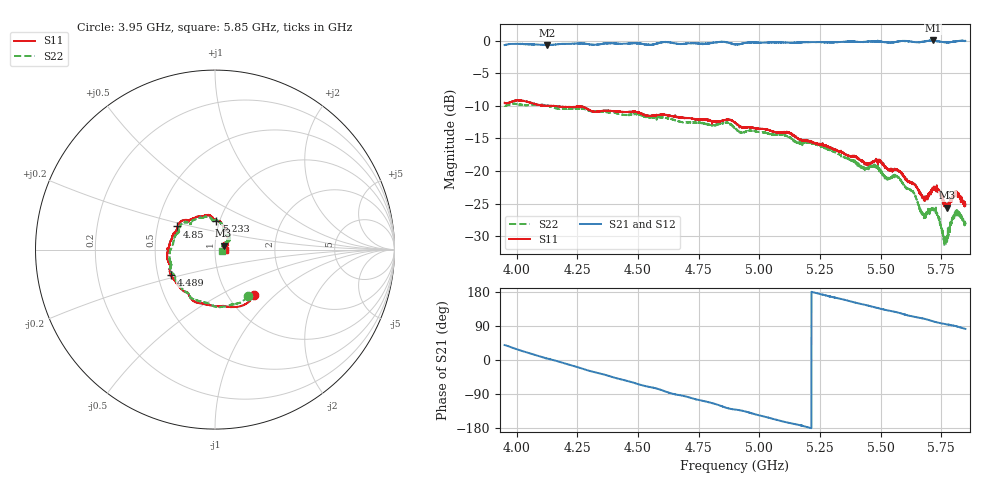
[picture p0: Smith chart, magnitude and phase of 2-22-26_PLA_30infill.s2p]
# GHZ S RI R 50.000000000000
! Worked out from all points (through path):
!   4501 points, 3.95 GHz to 5.85 GHz, reference 50 ohm
!   highest |S21| = 0.02 dB at 5.717 GHz (marker M1); lowest = -0.7 dB at 4.126 GHz (marker M2)
!   lowest |S11| = -25.6 dB at 5.775 GHz (marker M3), VSWR 1.11, Z = 54.9 + j2.4 ohm
!   |S11| at or under -10 dB: 4.121291 GHz to 4.135875 GHz (14.58 MHz wide, 0.353 % of centre); 4.141324 GHz to 4.15304 GHz (11.72 MHz wide, 0.282 % of centre); 4.153 GHz to end of sweep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
!   |S22| runs from -31.5 to -9.7 dB; largest |S21 - S12| = 0.026
!   S11 on the Smith chart (normalised r, x): 3.95 GHz: 1.31, -0.75; 4.489 GHz: 0.58, -0.18; 4.85 GHz: 0.64, +0.17; 5.233 GHz: 0.96, +0.32; 5.85 GHz: 1.12, -0.00
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3.95  0.2152 -0.2547  0.7151 0.5863  0.7154 0.5757  0.1825 -0.2581
4.0488  0.1049 -0.3204  0.8891 0.2956  0.8944 0.2998  0.0843 -0.3092
4.126067  0.0268 -0.3143  0.9213 0.0538  0.9229 0.0575  -0.000849 -0.3186
4.267089  -0.1124 -0.2908  0.8803 -0.3575  0.8867 -0.356  -0.1257 -0.2748
4.489178  -0.2467 -0.1399  0.4556 -0.8392  0.4589 -0.8489  -0.2447 -0.1201
4.583756  -0.2602 -0.0637  0.219 -0.9276  0.2211 -0.9215  -0.2514 -0.0589
4.716756  -0.2495 0.0439  -0.1608 -0.9401  -0.1697 -0.9401  -0.2296 0.0521
4.849756  -0.2093 0.1289  -0.5289 -0.8236  -0.5226 -0.828  -0.1957 0.1208
4.9  -0.169 0.1654  -0.6117 -0.7103  -0.626 -0.709  -0.1504 0.1499
5.064667  -0.0782 0.1828  -0.8881 -0.382  -0.8932 -0.3871  -0.0665 0.1785
5.217089  -0.00289 0.1668  -0.9734 0.00587  -0.9722 0.00316  0.012 0.1605
5.233133  0.00815 0.162  -0.9724 0.0507  -0.9724 0.0502  0.0192 0.1585
5.368667  0.0521 0.1202  -0.8968 0.3999  -0.8934 0.4016  0.0497 0.1131
5.533756  0.0673 0.0756  -0.6273 0.7368  -0.6255 0.746  0.0704 0.0541
5.566689  0.0766 0.0671  -0.5742 0.7901  -0.5677 0.7928  0.0746 0.0524
5.632133  0.0702 0.0393  -0.4119 0.8872  -0.4159 0.8864  0.0594 0.0357
5.680267  0.0535 0.0305  -0.3173 0.934  -0.316 0.9329  0.0408 0.022
5.717  0.0602 0.04  -0.2056 0.9804  -0.2101 0.9684  0.0502 0.00662
5.763867  0.055 0.0179  -0.0884 0.967  -0.0808 0.9621  0.0299 -0.00611
5.774844  0.0474 0.0218  -0.065 0.9661  -0.061 0.9579  0.0289 -0.00169
5.811156  0.0637 0.0175  0.0135 0.9875  0.0115 0.9839  0.0492 -0.00665
5.85  0.0544 -0.000856  0.1371 0.9829  0.1361 0.9897  0.0397 -0.00624
